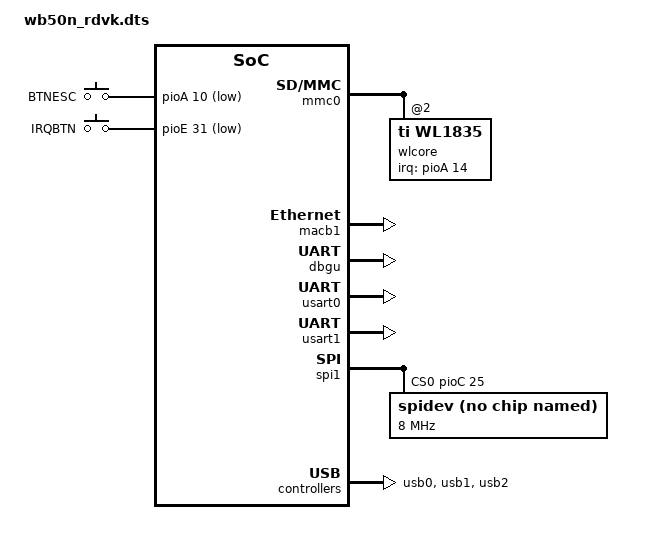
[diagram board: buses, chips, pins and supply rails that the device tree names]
/*
 * wb50n.dts - Device Tree file for wb50n board
 *
 *  Copyright (C) 2015 Laird
 *
 * Licensed under GPLv2 or later.
 */

/dts-v1/;
#include "wb50n.dtsi"

/ {
	ahb {
		apb {
			pinctrl@fffff200 {
				board {
					pinctrl_wlan_wl8xx: wlan_wl18xx {
						atmel,pins =
							<AT91_PIOA 31 AT91_PERIPH_GPIO AT91_PINCTRL_PULL_DOWN /* WLAN-EN */
							 AT91_PIOA 14 AT91_PERIPH_GPIO AT91_PINCTRL_PULL_DOWN /* INT */
							 AT91_PIOA 30 AT91_PERIPH_GPIO AT91_PINCTRL_PULL_DOWN>; /* BT-EN */
					};
				};
			};

			mmc0: mmc@f0000000 {
				pinctrl-0 = <&pinctrl_mmc0_clk_cmd_dat0 &pinctrl_mmc0_dat1_3 &pinctrl_mmc0_cd &pinctrl_wlan_wl8xx>;
				keep-power-in-suspend;
				status = "okay";
				autosuspend-delay = <1000>;

				wlcore: wlcore@2 {
					compatible = "ti,wl1835";
					reg = <2>;
					interrupt-parent = <&pioA>;
					interrupts = <14 IRQ_TYPE_EDGE_RISING>;
				};
			};

			macb1: ethernet@f802c000 {
				status = "okay";
			};

			dbgu: serial@ffffee00 {
				status = "okay";
			};

			/* On BB40 this port is labeled UART1 */
			usart0: serial@f001c000 {
				status = "okay";
			};

			/* On BB40 this port is labeled UART0 */
			usart1: serial@f0020000 {
				status = "okay";
			};

			spi1: spi@f8008000 {
				cs-gpios = <&pioC 25 0>, <0>, <0>, <0>;
				status = "okay";

				spidev@0 {
					compatible = "spidev";
					reg = <0>;
					spi-max-frequency = <8000000>;
				 };
			};

			watchdog@fffffe40 {
				status = "okay";
			};
		};

		usb0: gadget@00500000 {
			status = "okay";
		};

		usb1: ohci@00600000 {
			status = "okay";
		};

		usb2: ehci@00700000 {
			status = "okay";
		};
	};

	gpio_keys {
		compatible = "gpio-keys";
		#address-cells = <1>;
		#size-cells = <0>;
		btn0@pa10 {
			label = "BTNESC";
			linux,code = <1>; /* ESC button */
			gpios = <&pioA 10 GPIO_ACTIVE_LOW>;
			gpio-key,wakeup = <1>;
		};

		irqbtn@pe31 {
			label = "IRQBTN";
			linux,code = <99>; /* SysReq button */
			gpios = <&pioE 31 GPIO_ACTIVE_LOW>;
			gpio-key,wakeup = <1>;
		};
	};
};
